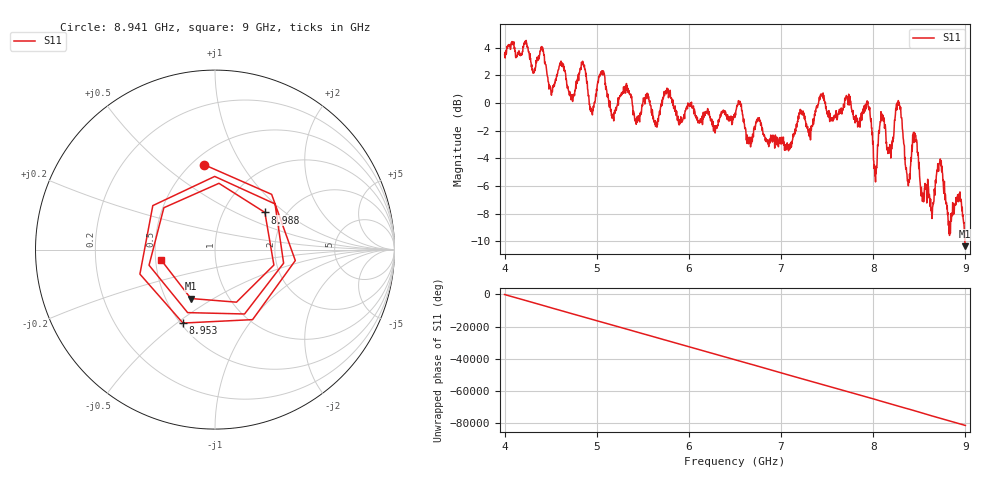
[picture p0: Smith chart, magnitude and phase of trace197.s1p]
! Created with skrf 1.8.0 (http://scikit-rf.org).
# Hz S RI R 50.0
!freq ReS11 ImS11
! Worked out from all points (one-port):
!   1601 points, 4 GHz to 9 GHz, reference 50 ohm
!   lowest |S11| = -10.3 dB at 8.997 GHz (marker M1), VSWR 1.87, Z = 33.3 - j20 ohm
!   |S11| at or under -10 dB: 8.994035 GHz to end of sweep
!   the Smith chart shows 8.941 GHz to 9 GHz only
!   S11 on the Smith chart (normalised r, x): 8.941 GHz: 0.57, +0.70; 8.953 GHz: 0.51, -0.53; 8.988 GHz: 1.56, +0.73; 9 GHz: 0.53, -0.07
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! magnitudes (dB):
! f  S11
! 4 GHz  3.5
! 4.506 GHz  0.6
! 4.625 GHz  2.8
! 4.734 GHz  0.4
! 4.856 GHz  2.8
! 4.944 GHz  -0.5
! 5.056 GHz  2.3
! 5.169 GHz  -1.0
! 5.25 GHz  0.5
! 5.875 GHz  -1.3
! 6.5 GHz  -1.0
! 7.125 GHz  -2.7
! 7.75 GHz  0.1
! 7.941 GHz  0.1
! 8.025 GHz  -5.7
! 8.084 GHz  -0.6
! 8.175 GHz  -3.2
! 8.275 GHz  0.0
! 8.375 GHz  -5.6
! 8.45 GHz  -2.3
! 8.628 GHz  -7.6
! 8.722 GHz  -4.3
! 8.825 GHz  -9.0
! 8.941 GHz  -6.4
! 8.953 GHz  -7.0
! 8.988 GHz  -9.2
! 8.997 GHz  -10.3
! 9 GHz  -10.3
